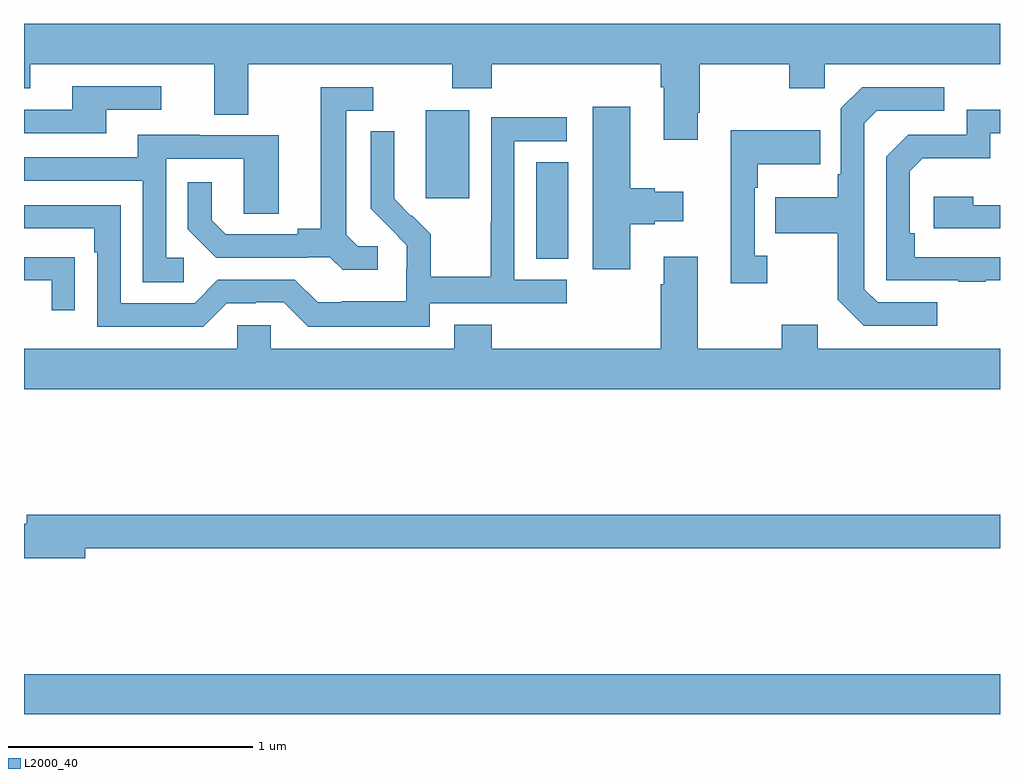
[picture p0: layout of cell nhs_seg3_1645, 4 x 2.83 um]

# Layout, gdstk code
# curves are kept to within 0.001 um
import gdstk
lib = gdstk.Library(unit=1e-6, precision=1e-09)
def R(c, l, rs):  # rectangles x0, y0, x1, y1
    for r in rs: c.add(gdstk.rectangle(r[:2], r[2:], *l))
def P(c, l, *ps):  # polygons
    for p in ps: c.add(gdstk.Polygon(p, *l))
L2000_40 = (2000, 40)

nhs_seg3_1645 = lib.new_cell('nhs_seg3_1645')
R(nhs_seg3_1645, L2000_40, [(195,736.88,199,737.044), (197.099,738.745,197.23,739.142), (196.646,738.993,196.825,739.354)])
P(nhs_seg3_1645, L2000_40, [(197.761,739.345),(197.769,739.345),(197.769,739.544),(198.136,739.544),(198.136,739.445),(198.282,739.445),(198.282,739.544),(199,739.544),(199,739.708),(195,739.708),(195,739.445),(195.025,739.445),(195.025,739.544),(195.779,739.544),(195.779,739.336),(195.919,739.336),(195.919,739.544),(196.756,739.544),(196.756,739.445),(196.916,739.445),(196.916,739.544),(197.609,739.544),(197.609,739.448),(197.621,739.448),(197.621,739.233),(197.761,739.233)],
  [(195.337,739.356),(195.562,739.356),(195.562,739.452),(195.197,739.452),(195.197,739.356),(195,739.356),(195,739.26),(195.337,739.26)],
  [(198.742,738.567),(198.498,738.567),(198.444,738.621),(198.444,739.302),(198.495,739.353),(198.772,739.353),(198.772,739.449),(198.435,739.449),(198.348,739.362),(198.348,739.093),(198.336,739.093),(198.336,738.997),(198.079,738.997),(198.079,738.85),(198.336,738.85),(198.336,738.577),(198.441,738.471),(198.742,738.471)],
  [(196.45,738.798),(196.368,738.798),(196.321,738.845),(196.321,739.353),(196.432,739.353),(196.432,739.449),(196.217,739.449),(196.217,738.869),(196.121,738.869),(196.121,738.846),(195.826,738.846),(195.769,738.903),(195.769,739.06),(195.672,739.06),(195.672,738.866),(195.788,738.75),(196.16,738.75),(196.16,738.753),(196.254,738.753),(196.306,738.701),(196.45,738.701)],
  [(197.485,738.887),(197.585,738.887),(197.585,738.899),(197.701,738.899),(197.701,739.021),(197.585,739.021),(197.585,739.034),(197.485,739.034),(197.485,739.369),(197.33,739.369),(197.33,738.702),(197.485,738.702)],
  [(198.941,738.657),(199,738.657),(199,738.753),(198.65,738.753),(198.65,738.85),(198.63,738.85),(198.63,739.104),(198.683,739.157),(198.96,739.157),(198.96,739.26),(199,739.26),(199,739.356),(198.864,739.356),(198.864,739.254),(198.624,739.254),(198.534,739.164),(198.534,738.657),(198.829,738.657),(198.829,738.652),(198.941,738.652)],
  [(196.662,738.564),(197.224,738.564),(197.224,738.66),(197.01,738.66),(197.01,739.227),(197.224,739.227),(197.224,739.326),(196.914,739.326),(196.914,738.896),(196.912,738.896),(196.912,738.673),(196.667,738.673),(196.667,738.847),(196.59,738.924),(196.587,738.921),(196.517,738.992),(196.518,739.268),(196.422,739.268),(196.422,738.95),(196.568,738.802),(196.568,738.705),(196.566,738.705),(196.566,738.571),(196.303,738.571),(196.303,738.567),(196.203,738.567),(196.11,738.66),(195.795,738.66),(195.699,738.564),(195.396,738.564),(195.396,738.966),(195,738.966),(195,738.87),(195.287,738.87),(195.287,738.773),(195.3,738.773),(195.3,738.468),(195.735,738.468),(195.831,738.564),(195.95,738.564),(195.95,738.567),(196.065,738.567),(196.165,738.467),(196.662,738.467)],
  [(198.046,738.758),(197.994,738.758),(197.994,739.037),(198.007,739.037),(198.007,739.133),(198.263,739.133),(198.263,739.273),(197.897,739.273),(197.897,738.645),(198.046,738.645)],
  [(195.655,738.75),(195.582,738.75),(195.582,739.155),(195.9,739.155),(195.9,738.931),(196.045,738.931),(196.045,739.251),(195.721,739.251),(195.721,739.255),(195.467,739.255),(195.467,739.161),(195,739.161),(195,739.065),(195.486,739.065),(195.486,738.649),(195.655,738.649)],
  [(199,738.966),(198.89,738.966),(198.89,739),(198.729,739),(198.729,738.87),(199,738.87)],
  [(199,738.376),(198.253,738.376),(198.253,738.475),(198.106,738.475),(198.106,738.376),(197.761,738.376),(197.761,738.754),(197.621,738.754),(197.621,738.641),(197.609,738.641),(197.609,738.376),(196.916,738.376),(196.916,738.475),(196.763,738.475),(196.763,738.376),(196.011,738.376),(196.011,738.474),(195.873,738.474),(195.873,738.376),(195,738.376),(195,738.212),(199,738.212)],
  [(195.209,738.752),(195.107,738.752),(195.107,738.753),(195,738.753),(195,738.657),(195.113,738.657),(195.113,738.534),(195.209,738.534)],
  [(195.25,737.56),(199,737.56),(199,737.696),(195.011,737.696),(195.011,737.66),(195,737.66),(195,737.518),(195.25,737.518)])

lib.write_gds('nhs_seg3_1645.gds')
